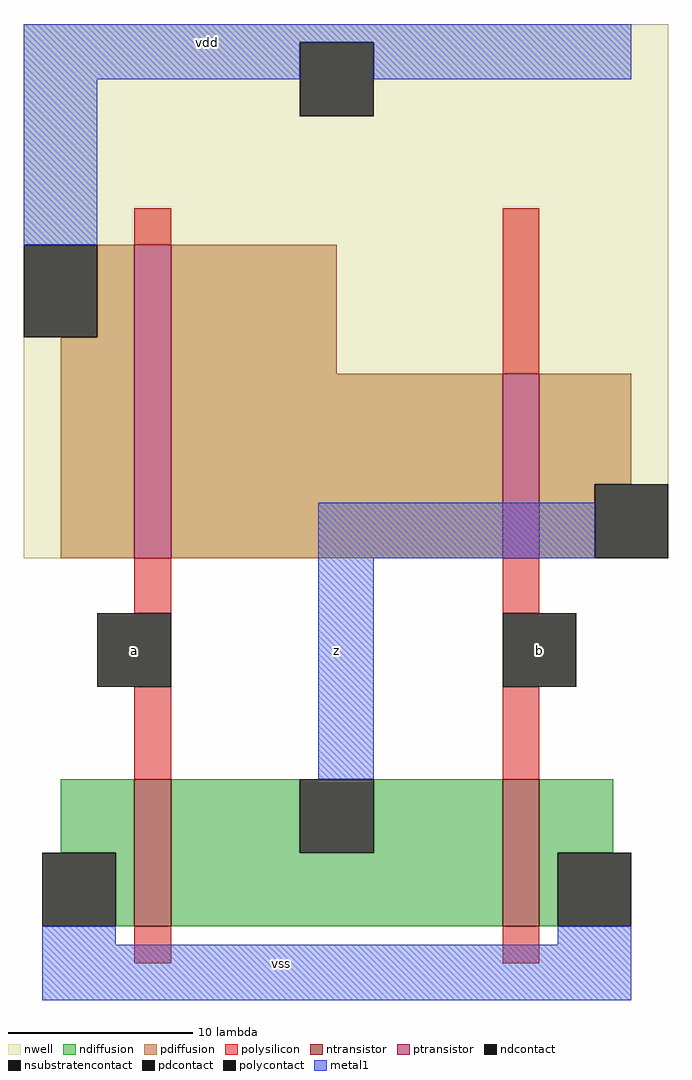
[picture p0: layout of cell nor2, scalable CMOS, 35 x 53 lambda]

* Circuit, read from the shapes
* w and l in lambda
.subckt nor2 a b vdd vss z
M1 z a vss VSUBS nfet w=8 l=2
M2 vss b z VSUBS nfet w=8 l=2
M3 n1 a vdd vdd pfet w=17 l=2
M4 z b n1 vdd pfet w=10 l=2
.ends

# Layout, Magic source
magic
tech scmos
<< nwell >>
rect 8 26 43 55
<< polysilicon >>
rect 14 43 16 45
rect 34 36 36 45
rect 14 23 16 26
rect 14 14 16 19
rect 34 23 36 26
rect 34 14 36 19
rect 14 4 16 6
rect 34 4 36 6
<< ndiffusion >>
rect 10 10 14 14
rect 13 6 14 10
rect 16 10 23 14
rect 27 10 34 14
rect 16 6 34 10
rect 36 10 40 14
rect 36 6 37 10
<< pdiffusion >>
rect 12 38 14 43
rect 10 26 14 38
rect 16 36 25 43
rect 16 26 34 36
rect 36 30 41 36
rect 36 26 39 30
<< metal1 >>
rect 8 54 41 55
rect 8 52 23 54
rect 8 43 12 52
rect 27 52 41 54
rect 24 26 39 29
rect 24 14 27 26
rect 9 5 13 6
rect 37 5 41 6
rect 9 2 41 5
<< ntransistor >>
rect 14 6 16 14
rect 34 6 36 14
<< ptransistor >>
rect 14 26 16 43
rect 34 26 36 36
<< polycontact >>
rect 12 19 16 23
rect 34 19 38 23
<< ndcontact >>
rect 9 6 13 10
rect 23 10 27 14
rect 37 6 41 10
<< pdcontact >>
rect 8 38 12 43
rect 39 26 43 30
<< nsubstratencontact >>
rect 23 50 27 54
<< labels >>
rlabel metal1 22 4 22 4 1 vss
rlabel metal1 18 54 18 54 5 vdd
rlabel polycontact 14 21 14 21 1 a
rlabel polycontact 36 21 36 21 1 b
rlabel metal1 25 21 25 21 1 z
<< end >>
